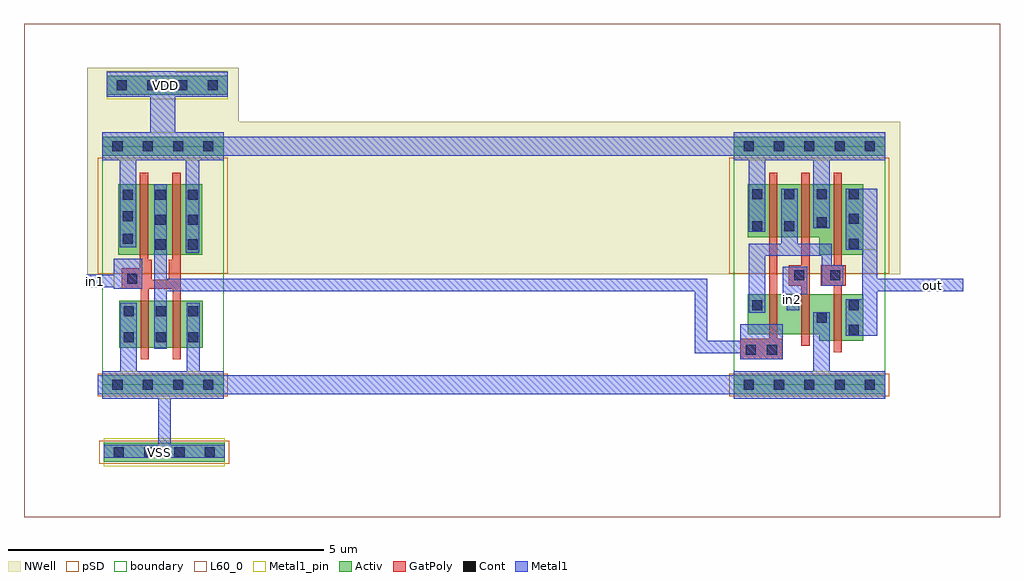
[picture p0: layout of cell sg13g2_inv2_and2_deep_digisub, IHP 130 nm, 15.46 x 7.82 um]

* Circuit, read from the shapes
.subckt sg13g2_inv2_and2_deep_digisub VDD VSS in1 in2 out
XM1 sg13g2_and2_1_0/A in1 VSS VSS sg13_lv_nmos w=0.74u l=0.13u m=2
XM2 n1 sg13g2_and2_1_0/A n2 VSS sg13_lv_nmos w=0.64u l=0.13u
XM3 VSS in2 n1 VSS sg13_lv_nmos w=0.64u l=0.13u
XM4 out n2 VSS VSS sg13_lv_nmos w=0.74u l=0.13u
XM5 sg13g2_and2_1_0/A in1 VDD VDD sg13_lv_pmos w=1.12u l=0.13u m=2
XM6 n2 sg13g2_and2_1_0/A VDD VDD sg13_lv_pmos w=0.84u l=0.13u
XM7 VDD in2 n2 VDD sg13_lv_pmos w=0.84u l=0.13u
XM8 out n2 VDD VDD sg13_lv_pmos w=1.12u l=0.13u
.ends

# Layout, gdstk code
import gdstk
lib = gdstk.Library(unit=1e-6, precision=1e-09)
def R(c, l, rs):  # rectangles x0, y0, x1, y1
    for r in rs: c.add(gdstk.rectangle(r[:2], r[2:], *l))
def A(c, l, x, y, w, h, nx, ny, dx, dy):  # array of equal rectangles
    R(c, l, [(x+i*dx, y+j*dy, x+i*dx+w, y+j*dy+h) for i in range(nx) for j in range(ny)])
def P(c, l, *ps):  # polygons
    for p in ps: c.add(gdstk.Polygon(p, *l))
Activ = (1, 0)
GatPoly = (5, 0)
Cont = (6, 0)
Metal1 = (8, 0)
Metal1_pin = (8, 2)
pSD = (14, 0)
NWell = (31, 0)
L60_0 = (60, 0)
boundary = (189, 4)

sg13g2_and2_1 = lib.new_cell('sg13g2_and2_1')
R(sg13g2_and2_1, Activ, [(0,-0.15,2.4,0.15), (0,3.63,2.4,3.93)])
P(sg13g2_and2_1, Activ, [(1.355,0.7),(1.355,0.8),(0.225,0.8),(0.225,1.44),(2.055,1.44),(2.055,0.7)],
  [(1.355,2.06),(1.355,2.34),(0.225,2.34),(0.225,3.18),(2.055,3.18),(2.055,2.06)])
P(sg13g2_and2_1, GatPoly, [(1.585,0.52),(1.585,1.57),(1.385,1.57),(1.385,1.9),(1.585,1.9),(1.585,3.36),(1.715,3.36),(1.715,1.9),(1.775,1.9),(1.775,1.57),(1.715,1.57),(1.715,0.52)],
  [(0.105,0.41),(0.105,0.73),(0.565,0.73),(0.565,3.36),(0.695,3.36),(0.695,0.73),(0.775,0.73),(0.775,0.41)],
  [(1.075,0.62),(1.075,1.57),(0.875,1.57),(0.875,1.9),(1.075,1.9),(1.075,3.36),(1.205,3.36),(1.205,0.62)])
A(sg13g2_and2_1, Cont, 0.16, -0.08, 0.16, 0.16, 5, 1, 0.48, 0)
A(sg13g2_and2_1, Cont, 0.295, 2.94, 0.16, 0.16, 4, 1, 0.51, 0)
R(sg13g2_and2_1, Cont, [(0.19,0.48,0.35,0.64), (0.53,0.48,0.69,0.64), (1.825,0.795,1.985,0.955), (1.315,0.985,1.475,1.145), (0.295,1.18,0.455,1.34), (1.825,1.185,1.985,1.345), (0.96,1.655,1.12,1.815), (1.53,1.655,1.69,1.815), (1.825,2.155,1.985,2.315), (0.295,2.435,0.455,2.595), (0.805,2.435,0.965,2.595), (1.315,2.495,1.475,2.655), (1.825,2.555,1.985,2.715), (0.16,3.7,0.32,3.86), (0.16,3.7,0.32,3.86), (0.16,3.7,0.32,3.86), (0.64,3.7,0.8,3.86), (0.64,3.7,0.8,3.86), (1.12,3.7,1.28,3.86), (1.12,3.7,1.28,3.86), (1.6,3.7,1.76,3.86), (1.6,3.7,1.76,3.86), (2.08,3.7,2.24,3.86), (2.08,3.7,2.24,3.86)])
R(sg13g2_and2_1, Metal1, [(0.105,0.405,0.78,0.96), (0.78,1.435,1.17,1.87)])
P(sg13g2_and2_1, Metal1, [(0.245,1.14),(0.245,2.24),(0.755,2.24),(0.755,3.11),(1.015,3.11),(1.015,2.24),(1.56,2.24),(1.56,1.9),(1.74,1.9),(1.74,1.57),(1.4,1.57),(1.4,2.05),(0.505,2.05),(0.505,1.14)],
  [(1.775,0.78),(1.775,1.36),(2.04,1.36),(2.04,2.14),(1.775,2.14),(1.775,3.11),(2.275,3.11),(2.275,0.78)],
  [(0.245,2.425),(0.245,3.56),(0,3.56),(0,4),(2.4,4),(2.4,3.56),(1.525,3.56),(1.525,2.485),(1.265,2.485),(1.265,3.56),(0.505,3.56),(0.505,2.425)],
  [(0,-0.22),(0,0.22),(1.265,0.22),(1.265,1.155),(1.525,1.155),(1.525,0.22),(2.4,0.22),(2.4,-0.22)])
R(sg13g2_and2_1, Metal1_pin, [(0,-0.22,2.4,0.22), (0.105,0.405,0.78,0.96), (0.78,1.435,1.17,1.87), (1.775,2.14,2.275,3.11), (0,3.56,2.4,4)])
R(sg13g2_and2_1, pSD, [(-0.07,-0.18,2.47,0.18), (-0.07,1.76,0.55,3.6), (-0.07,1.76,2.47,3.6)])
R(sg13g2_and2_1, NWell, [(-0.24,1.75,2.64,4.17)])
R(sg13g2_and2_1, boundary, [(0,0,2.4,3.78)])
sg13g2_and2_1.add(gdstk.Label('X', (1.995,2.68), layer=8, texttype=25))
sg13g2_and2_1.add(gdstk.Label('VSS', (1.18,0), layer=8, texttype=25))
sg13g2_and2_1.add(gdstk.Label('VDD', (1.275,3.78), layer=8, texttype=25))
sg13g2_and2_1.add(gdstk.Label('B', (0.98,1.655), layer=8, texttype=25))
sg13g2_and2_1.add(gdstk.Label('A', (0.465,0.745), layer=8, texttype=25))

sg13g2_inv_2 = lib.new_cell('sg13g2_inv_2')
R(sg13g2_inv_2, Activ, [(0,-0.15,1.92,0.15), (0.265,0.59,1.59,1.33), (0.255,2.06,1.58,3.18), (0,3.63,1.92,3.93)])
P(sg13g2_inv_2, GatPoly, [(0.605,0.41),(0.605,1.52),(0.305,1.52),(0.305,1.85),(0.595,1.85),(0.595,3.36),(0.725,3.36),(0.725,1.985),(0.785,1.985),(0.785,1.67),(1.055,1.67),(1.055,1.985),(1.11,1.985),(1.11,3.36),(1.24,3.36),(1.24,1.585),(1.245,1.585),(1.245,0.41),(1.115,0.41),(1.115,1.52),(0.735,1.52),(0.735,0.41)])
A(sg13g2_inv_2, Cont, 0.84, 2.145, 0.16, 0.16, 1, 3, 0, 0.395)
A(sg13g2_inv_2, Cont, 1.35, 2.145, 0.16, 0.16, 1, 3, 0, 0.395)
R(sg13g2_inv_2, Cont, [(0.16,-0.08,0.32,0.08), (0.16,-0.08,0.32,0.08), (0.64,-0.08,0.8,0.08), (0.64,-0.08,0.8,0.08), (1.12,-0.08,1.28,0.08), (1.12,-0.08,1.28,0.08), (1.6,-0.08,1.76,0.08), (1.6,-0.08,1.76,0.08), (0.335,0.675,0.495,0.835), (0.845,0.675,1.005,0.835), (1.36,0.675,1.52,0.835), (0.335,1.09,0.495,1.25), (0.845,1.09,1.005,1.25), (1.36,1.09,1.52,1.25), (0.39,1.605,0.55,1.765), (0.325,2.235,0.485,2.395), (0.325,2.59,0.485,2.75), (0.325,2.935,0.485,3.095), (0.16,3.7,0.32,3.86), (0.16,3.7,0.32,3.86), (0.64,3.7,0.8,3.86), (0.64,3.7,0.8,3.86), (1.12,3.7,1.28,3.86), (1.12,3.7,1.28,3.86), (1.6,3.7,1.76,3.86), (1.6,3.7,1.76,3.86)])
R(sg13g2_inv_2, Metal1, [(0.825,0.57,1.02,3.18), (0.18,1.52,0.635,2)])
P(sg13g2_inv_2, Metal1, [(1.32,2.095),(1.32,3.56),(0.535,3.56),(0.535,2.185),(0.275,2.185),(0.275,3.56),(0,3.56),(0,4),(1.92,4),(1.92,3.56),(1.535,3.56),(1.535,2.095)],
  [(0,-0.22),(0,0.22),(0.285,0.22),(0.285,1.3),(0.545,1.3),(0.545,0.22),(1.34,0.22),(1.34,1.305),(1.54,1.305),(1.54,0.22),(1.92,0.22),(1.92,-0.22)])
R(sg13g2_inv_2, Metal1_pin, [(0,-0.22,1.92,0.22), (0.825,0.57,1.02,3.18), (0.18,1.52,0.635,2), (0,3.56,1.92,4)])
R(sg13g2_inv_2, pSD, [(-0.07,-0.18,1.99,0.18), (-0.07,1.76,1.99,3.6)])
R(sg13g2_inv_2, NWell, [(-0.24,1.75,2.16,4.17)])
R(sg13g2_inv_2, boundary, [(0,0,1.92,3.78)])
sg13g2_inv_2.add(gdstk.Label('VSS', (0.89,0), layer=8, texttype=25))
sg13g2_inv_2.add(gdstk.Label('VDD', (0.935,3.785), layer=8, texttype=25))
sg13g2_inv_2.add(gdstk.Label('Y', (0.925,1.855), layer=8, texttype=25))
sg13g2_inv_2.add(gdstk.Label('A', (0.415,1.75), layer=8, texttype=25))

sg13g2_inv2_and2_deep_di = lib.new_cell('sg13g2_inv2_and2_deep_digisub')
R(sg13g2_inv2_and2_deep_di, Activ, [(-49.978,8.784,-48.058,9.084), (-49.932,14.597,-48.012,14.897)])
R(sg13g2_inv2_and2_deep_di, Cont, [(-49.818,8.854,-49.658,9.014), (-49.818,8.854,-49.658,9.014), (-49.338,8.854,-49.178,9.014), (-49.338,8.854,-49.178,9.014), (-48.858,8.854,-48.698,9.014), (-48.858,8.854,-48.698,9.014), (-48.378,8.854,-48.218,9.014), (-48.378,8.854,-48.218,9.014), (-49.772,14.667,-49.612,14.827), (-49.772,14.667,-49.612,14.827), (-49.292,14.667,-49.132,14.827), (-49.292,14.667,-49.132,14.827), (-48.812,14.667,-48.652,14.827), (-48.812,14.667,-48.652,14.827), (-48.332,14.667,-48.172,14.827), (-48.332,14.667,-48.172,14.827)])
R(sg13g2_inv2_and2_deep_di, Metal1, [(-39.895,10.405,-39.22,10.96), (-49.175,10.57,-48.98,13.18), (-39.22,11.435,-38.83,11.87), (-49.82,11.52,-49.365,12)])
P(sg13g2_inv2_and2_deep_di, Metal1, [(-39.755,11.14),(-39.755,12.24),(-39.245,12.24),(-39.245,13.11),(-38.985,13.11),(-38.985,12.24),(-38.44,12.24),(-38.44,11.9),(-38.26,11.9),(-38.26,11.57),(-38.6,11.57),(-38.6,12.05),(-39.495,12.05),(-39.495,11.14)],
  [(-38.225,10.78),(-38.225,11.36),(-37.96,11.36),(-37.96,12.14),(-38.225,12.14),(-38.225,13.11),(-37.725,13.11),(-37.725,10.78)],
  [(-39.755,12.425),(-39.755,13.56),(-40,13.56),(-40,14),(-37.6,14),(-37.6,13.56),(-38.475,13.56),(-38.475,12.485),(-38.735,12.485),(-38.735,13.56),(-39.495,13.56),(-39.495,12.425)],
  [(-40,9.78),(-40,10.22),(-38.735,10.22),(-38.735,11.155),(-38.475,11.155),(-38.475,10.22),(-37.6,10.22),(-37.6,9.78)],
  [(-48.68,12.095),(-48.68,13.56),(-49.465,13.56),(-49.465,12.185),(-49.725,12.185),(-49.725,13.56),(-50,13.56),(-50,14),(-48.08,14),(-48.08,13.56),(-48.465,13.56),(-48.465,12.095)],
  [(-50,9.78),(-50,10.22),(-49.715,10.22),(-49.715,11.3),(-49.455,11.3),(-49.455,10.22),(-48.66,10.22),(-48.66,11.305),(-48.46,11.305),(-48.46,10.22),(-48.08,10.22),(-48.08,9.78)])
R(sg13g2_inv2_and2_deep_di, Metal1_pin, [(-49.978,8.714,-48.058,9.154), (-49.932,14.527,-48.012,14.967)])
R(sg13g2_inv2_and2_deep_di, pSD, [(-50.048,8.754,-47.988,9.114)])
R(sg13g2_inv2_and2_deep_di, NWell, [(-50.24,11.751,-37.37,14.17), (-50.24,14.17,-47.836,15.023)])
R(sg13g2_inv2_and2_deep_di, L60_0, [(-51.242,7.901,-35.778,15.725)])
sg13g2_inv2_and2_deep_di.add(gdstk.FlexPath([(-48.058,8.95),(-49.978,8.95)], 0.2, ends="flush", simple_path=True, layer=8, datatype=0))  # Metal1
sg13g2_inv2_and2_deep_di.add(gdstk.FlexPath([(-49.015,8.85),(-49.015,10.18)], 0.2, ends="flush", simple_path=True, layer=8, datatype=0))  # Metal1
sg13g2_inv2_and2_deep_di.add(gdstk.FlexPath([(-37.983,10),(-50.07,10)], 0.3, ends="flush", simple_path=True, layer=8, datatype=0))  # Metal1
sg13g2_inv2_and2_deep_di.add(gdstk.FlexPath([(-37.6,13.78),(-49.867,13.78)], 0.3, ends="flush", simple_path=True, layer=8, datatype=0))  # Metal1
sg13g2_inv2_and2_deep_di.add(gdstk.FlexPath([(-48.012,14.763),(-49.932,14.763)], 0.4, ends="flush", simple_path=True, layer=8, datatype=0))  # Metal1
sg13g2_inv2_and2_deep_di.add(gdstk.FlexPath([(-49.043,13.93),(-49.043,14.967)], 0.4, ends="flush", simple_path=True, layer=8, datatype=0))  # Metal1
sg13g2_inv2_and2_deep_di.add(gdstk.FlexPath([(-49.175,11.584),(-40.516,11.584),(-40.516,10.599),(-39.65,10.599)], 0.2, ends="flush", simple_path=True, layer=8, datatype=0))  # Metal1
sg13g2_inv2_and2_deep_di.add(gdstk.FlexPath([(-39.06,11.87),(-39.06,11.18)], 0.2, ends="flush", simple_path=True, layer=8, datatype=0))  # Metal1
sg13g2_inv2_and2_deep_di.add(gdstk.FlexPath([(-49.45,11.644),(-50.252,11.644)], 0.2, ends="flush", simple_path=True, layer=8, datatype=0))  # Metal1
sg13g2_inv2_and2_deep_di.add(gdstk.FlexPath([(-37.96,11.581),(-36.363,11.581)], 0.2, ends="flush", simple_path=True, layer=8, datatype=0))  # Metal1
sg13g2_inv2_and2_deep_di.add(gdstk.Reference(sg13g2_and2_1, (-40,10)))
sg13g2_inv2_and2_deep_di.add(gdstk.Reference(sg13g2_inv_2, (-50,10)))
sg13g2_inv2_and2_deep_di.add(gdstk.Label('VSS', (-49.088,8.934), layer=8, texttype=25))
sg13g2_inv2_and2_deep_di.add(gdstk.Label('VDD', (-48.997,14.752), layer=8, texttype=25))
sg13g2_inv2_and2_deep_di.add(gdstk.Label('in2', (-39.06,11.352), layer=8, texttype=25))
sg13g2_inv2_and2_deep_di.add(gdstk.Label('in1', (-50.111,11.644), layer=8, texttype=25))
sg13g2_inv2_and2_deep_di.add(gdstk.Label('out', (-36.844,11.581), layer=8, texttype=25))

lib.write_gds('sg13g2_inv2_and2_deep_digisub.gds')
